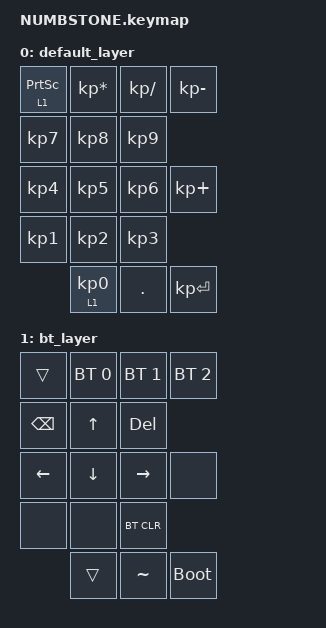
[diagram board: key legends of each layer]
#include <behaviors.dtsi>
#include <dt-bindings/zmk/keys.h>
#include <dt-bindings/zmk/bt.h>

/ {
    keymap {
        compatible = "zmk,keymap";

        default_layer {
            bindings = <
                &lt 1 PSCRN               &kp KP_ASTERISK         &kp KP_SLASH     &kp KP_MINUS
                &kp KP_N7                 &kp KP_N8               &kp KP_N9          
                &kp KP_N4                 &kp KP_N5               &kp KP_N6        &kp KP_PLUS
                &kp KP_N1                 &kp KP_N2               &kp KP_N3          
                                          &lt 1 KP_N0             &kp DOT          &kp KP_ENTER
            >;
        };

        bt_layer {
            bindings = <
                &trans                     &bt BT_SEL 0                 &bt BT_SEL 1           &bt BT_SEL 2           
                &kp BACKSPACE              &kp UP                       &kp DEL            
                &kp LEFT                   &kp DOWN                     &kp RIGHT              &none
                &none                      &none                        &bt BT_CLR 
                                           &trans                       &kp TILDE              &bootloader 
            >;
        };
    };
